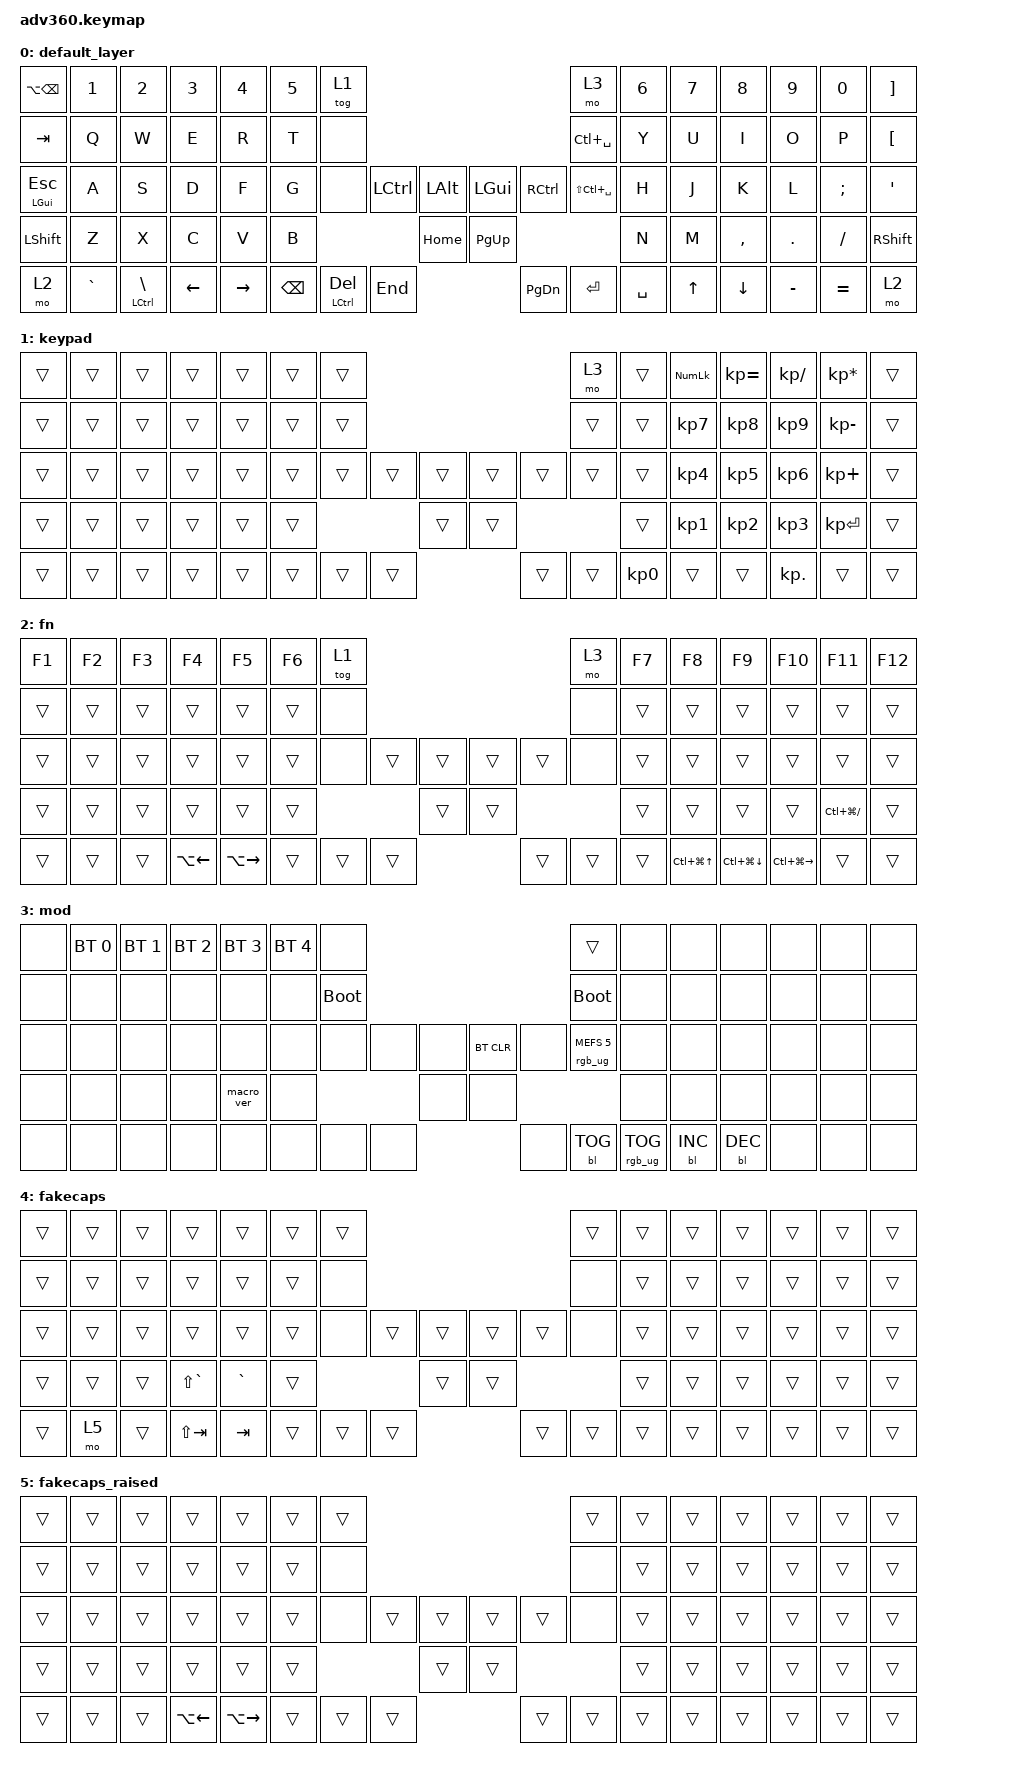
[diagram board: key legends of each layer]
#include <behaviors.dtsi>
#include <dt-bindings/zmk/keys.h>
#include <dt-bindings/zmk/bt.h>
#include <dt-bindings/zmk/rgb.h>
#include <dt-bindings/zmk/backlight.h>

/ {
    behaviors {
      #include "macros.dtsi"
      #include "version.dtsi"
      #ifndef VERSION_MACRO
      macro_ver: macro_ver {
        compatible = "zmk,behavior-macro";
        label = "macro_version";
        #binding-cells = <0>;
        bindings = <&kp RET>;
      };
      #endif

      hm: homerow_mods {
          compatible = "zmk,behavior-hold-tap";
          label = "HOMEROW_MODS";
          #binding-cells = <2>;
          tapping-term-ms = <200>;
          quick_tap_ms = <175>;
          flavor = "tap-preferred";
          bindings = <&kp>, <&kp>;
      };
      fc: fakecaps_modifier {
          compatible = "zmk,behavior-hold-tap";
          #binding-cells = <2>;
          flavor = "hold-preferred";
          tapping-term-ms = <200>;
          bindings = <&c4>, <&kp>;
      };
    };

  keymap {
    compatible = "zmk,keymap";

    default_layer {
      bindings = <
        &kp LA(BSPC) &kp N1    &kp N2         &kp N3   &kp N4     &kp N5 &tog 1                                                               &mo 3             &kp N6 &kp N7 &kp N8    &kp N9    &kp N0    &kp RBKT
        &kp TAB      &kp Q     &kp W          &kp E    &kp R      &kp T  &none                                                                &kp LC(SPACE)     &kp Y  &kp U  &kp I     &kp O     &kp P     &kp LBKT
        &mt LGUI ESC &kp A     &kp S          &kp D    &kp F      &kp G  &none           &kp LCTRL     &kp LALT &kp LGUI  &kp RCTRL           &kp LS(LC(SPACE)) &kp H  &kp J  &kp K     &kp L     &kp SEMI  &kp SQT
        &kp LSHFT    &kp Z     &kp X          &kp C    &kp V      &kp B                                &kp HOME &kp PG_UP                                       &kp N  &kp M  &kp COMMA &kp DOT   &kp FSLH  &kp RSHFT
        &mo 2        &kp GRAVE &fc LCTRL BSLH &kp LEFT &kp RIGHT                &kp BSPC &mt LCTRL DEL &kp END  &kp PG_DN &kp ENTER &kp SPACE                          &kp UP &kp DOWN  &kp MINUS &kp EQUAL &mo 2
      >;
    };
    keypad {
      bindings = <
        &trans    &trans    &trans   &trans   &trans     &trans &trans                                                           &mo 3  &trans &kp KP_NUM &kp KP_EQUAL &kp KP_DIVIDE &kp KP_MULTIPLY &trans
        &trans    &trans    &trans   &trans   &trans     &trans &trans                                                           &trans &trans &kp KP_N7  &kp KP_N8    &kp KP_N9     &kp KP_MINUS    &trans
        &trans    &trans    &trans   &trans   &trans     &trans &trans          &trans    &trans   &trans    &trans              &trans &trans &kp KP_N4  &kp KP_N5    &kp KP_N6     &kp KP_PLUS     &trans
        &trans    &trans    &trans   &trans   &trans     &trans                           &trans   &trans                               &trans &kp KP_N1  &kp KP_N2    &kp KP_N3     &kp KP_ENTER    &trans
        &trans    &trans    &trans   &trans   &trans                   &trans   &trans    &trans   &trans    &trans    &kp KP_N0               &trans     &trans       &kp KP_DOT    &trans          &trans
      >;
    };
    fn {
      bindings = <
        &kp F1 &kp F2 &kp F3 &kp F4       &kp F5     &kp F6 &tog 1                                           &mo 3 &kp F7 &kp F8         &kp F9           &kp F10           &kp F11          &kp F12
        &trans &trans &trans &trans       &trans     &trans  &none                                           &none &trans &trans         &trans           &trans            &trans           &trans
        &trans &trans &trans &trans       &trans     &trans  &none        &trans &trans &trans &trans        &none &trans &trans         &trans           &trans            &trans           &trans
        &trans &trans &trans &trans       &trans     &trans                      &trans &trans                     &trans &trans         &trans           &trans            &kp LC(LG(FSLH)) &trans
        &trans &trans &trans &kp LA(LEFT) &kp LA(RIGHT)            &trans &trans &trans &trans &trans &trans              &kp LC(LG(UP)) &kp LC(LG(DOWN)) &kp LC(LG(RIGHT)) &trans           &trans
      >;
    };
    mod {
      bindings = <
        &none &bt BT_SEL 0 &bt BT_SEL 1 &bt BT_SEL 2 &bt BT_SEL 3 &bt BT_SEL 4 &none                                                                     &trans                 &none        &none        &none        &none &none &none
        &none &none        &none        &none        &none        &none        &bootloader                                                               &bootloader            &none        &none        &none        &none &none &none
        &none &none        &none        &none        &none        &none        &none                   &none &none &bt BT_CLR &none                      &rgb_ug RGB_MEFS_CMD 5 &none        &none        &none        &none &none &none
        &none &none        &none        &none        &macro_ver   &none                                      &none &none                                                        &none        &none        &none        &none &none &none
        &none &none        &none        &none        &none                                       &none &none &none &none      &bl BL_TOG &rgb_ug RGB_TOG                                     &bl BL_INC   &bl BL_DEC   &none &none &none
      >;
    };
    fakecaps {
      bindings = <
        &trans &trans &trans &trans        &trans    &trans &trans                                           &trans &trans &trans &trans &trans &trans &trans
        &trans &trans &trans &trans        &trans    &trans  &none                                           &none  &trans &trans &trans &trans &trans &trans
        &trans &trans &trans &trans        &trans    &trans  &none        &trans &trans &trans &trans        &none  &trans &trans &trans &trans &trans &trans
        &trans &trans &trans &kp LS(GRAVE) &kp GRAVE &trans                      &trans &trans                      &trans &trans &trans &trans &trans &trans
        &trans &mo 5  &trans &kp LS(TAB)   &kp TAB               &trans &trans &trans &trans &trans &trans                 &trans &trans &trans &trans &trans
      >;
    };
    fakecaps_raised {
      bindings = <
        &trans &trans &trans &trans        &trans    &trans &trans                                           &trans &trans &trans &trans &trans &trans &trans
        &trans &trans &trans &trans        &trans    &trans  &none                                           &none  &trans &trans &trans &trans &trans &trans
        &trans &trans &trans &trans        &trans    &trans  &none        &trans &trans &trans &trans        &none  &trans &trans &trans &trans &trans &trans
        &trans &trans &trans &trans        &trans    &trans                      &trans &trans                      &trans &trans &trans &trans &trans &trans
        &trans &trans &trans &kp LA(LEFT)  &kp LA(RIGHT)         &trans &trans &trans &trans &trans &trans                 &trans &trans &trans &trans &trans
      >;
    };
  };
};
